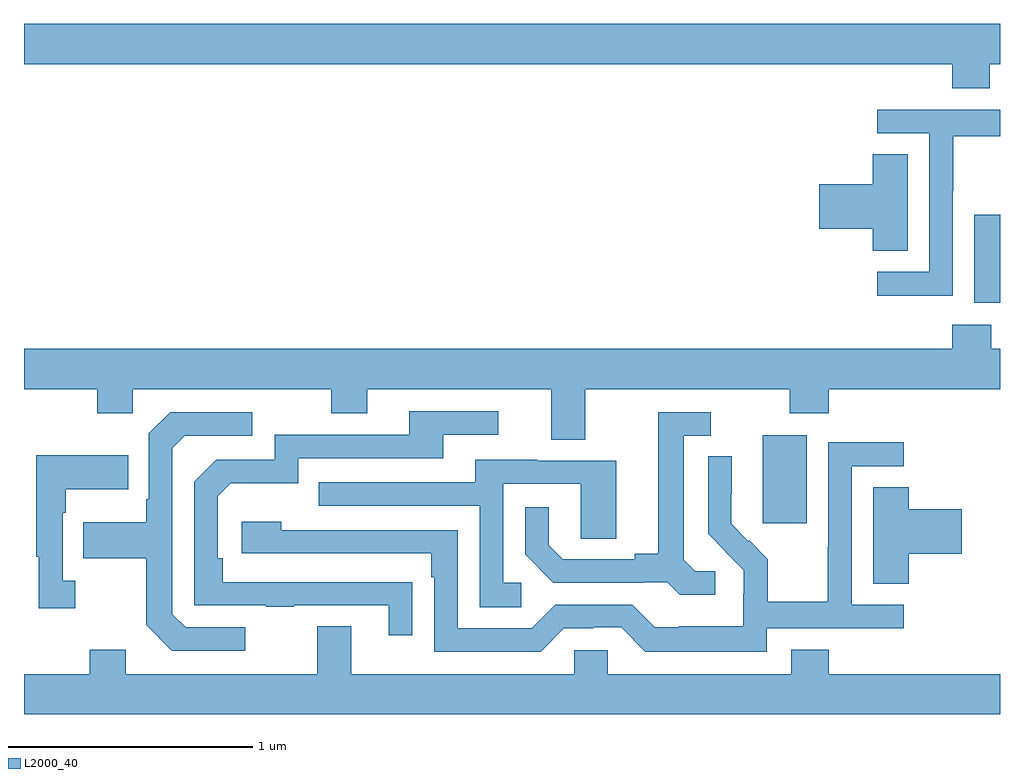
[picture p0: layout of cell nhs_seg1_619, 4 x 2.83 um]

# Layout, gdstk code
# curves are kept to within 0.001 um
import gdstk
lib = gdstk.Library(unit=1e-6, precision=1e-09)
def R(c, l, rs):  # rectangles x0, y0, x1, y1
    for r in rs: c.add(gdstk.rectangle(r[:2], r[2:], *l))
def P(c, l, *ps):  # polygons
    for p in ps: c.add(gdstk.Polygon(p, *l))
L2000_40 = (2000, 40)

nhs_seg1_619 = lib.new_cell('nhs_seg1_619')
R(nhs_seg1_619, L2000_40, [(148.028,523.209,148.207,523.57), (148.895,524.114,149,524.475)])
P(nhs_seg1_619, L2000_40, [(148.957,525.092),(149,525.092),(149,525.256),(145,525.256),(145,525.092),(148.805,525.092),(148.805,524.993),(148.957,524.993)],
  [(148.806,524.572),(148.809,524.572),(148.809,524.796),(149,524.796),(149,524.904),(148.497,524.904),(148.497,524.808),(148.71,524.808),(148.71,524.241),(148.497,524.241),(148.497,524.143),(148.806,524.143)],
  [(148.621,524.723),(148.478,524.723),(148.478,524.6),(148.26,524.6),(148.26,524.417),(148.478,524.417),(148.478,524.326),(148.621,524.326)],
  [(147.301,523.76),(148.138,523.76),(148.138,523.661),(148.298,523.661),(148.298,523.76),(149,523.76),(149,523.924),(148.965,523.924),(148.965,524.023),(148.805,524.023),(148.805,523.924),(145,523.924),(145,523.76),(145.3,523.76),(145.3,523.661),(145.446,523.661),(145.446,523.76),(146.26,523.76),(146.26,523.661),(146.407,523.661),(146.407,523.76),(147.161,523.76),(147.161,523.552),(147.301,523.552)],
  [(146.591,522.968),(145.814,522.969),(145.814,523.066),(145.794,523.066),(145.794,523.32),(145.847,523.373),(146.124,523.373),(146.124,523.476),(146.719,523.476),(146.719,523.572),(146.944,523.572),(146.944,523.668),(146.579,523.668),(146.579,523.572),(146.028,523.572),(146.028,523.47),(145.788,523.47),(145.698,523.38),(145.698,522.873),(145.993,522.873),(145.993,522.868),(146.105,522.868),(146.105,522.873),(146.495,522.873),(146.495,522.75),(146.591,522.75)],
  [(147.832,523.014),(147.75,523.014),(147.703,523.061),(147.703,523.569),(147.814,523.569),(147.814,523.665),(147.599,523.665),(147.599,523.085),(147.503,523.085),(147.503,523.062),(147.208,523.062),(147.151,523.119),(147.151,523.276),(147.054,523.276),(147.054,523.082),(147.17,522.966),(147.542,522.966),(147.542,522.969),(147.636,522.969),(147.688,522.917),(147.832,522.917)],
  [(145.906,522.783),(145.662,522.783),(145.608,522.837),(145.608,523.518),(145.659,523.569),(145.936,523.569),(145.936,523.665),(145.599,523.665),(145.512,523.578),(145.512,523.309),(145.5,523.309),(145.5,523.213),(145.243,523.213),(145.243,523.066),(145.5,523.066),(145.5,522.793),(145.605,522.687),(145.906,522.687)],
  [(148.044,522.78),(148.606,522.78),(148.606,522.876),(148.392,522.876),(148.392,523.443),(148.606,523.443),(148.606,523.542),(148.296,523.542),(148.296,523.112),(148.294,523.112),(148.294,522.889),(148.049,522.889),(148.049,523.063),(147.972,523.14),(147.969,523.137),(147.899,523.208),(147.9,523.484),(147.804,523.484),(147.804,523.166),(147.95,523.018),(147.95,522.921),(147.948,522.921),(147.948,522.787),(147.685,522.787),(147.685,522.783),(147.585,522.783),(147.492,522.876),(147.177,522.876),(147.081,522.78),(146.778,522.78),(146.778,523.182),(146.054,523.182),(146.054,523.216),(145.893,523.216),(145.893,523.086),(146.669,523.086),(146.669,522.989),(146.682,522.989),(146.682,522.684),(147.117,522.684),(147.213,522.78),(147.332,522.78),(147.332,522.783),(147.447,522.783),(147.547,522.683),(148.044,522.683)],
  [(145.21,522.974),(145.158,522.974),(145.158,523.253),(145.171,523.253),(145.171,523.349),(145.427,523.349),(145.427,523.489),(145.05,523.489),(145.05,523.073),(145.061,523.073),(145.061,522.861),(145.21,522.861)],
  [(147.037,522.966),(146.964,522.966),(146.964,523.371),(147.282,523.371),(147.282,523.147),(147.427,523.147),(147.427,523.467),(147.103,523.467),(147.103,523.471),(146.849,523.471),(146.849,523.377),(146.209,523.377),(146.209,523.281),(146.868,523.281),(146.868,522.865),(147.037,522.865)],
  [(148.625,523.085),(148.843,523.085),(148.843,523.268),(148.625,523.268),(148.625,523.358),(148.481,523.358),(148.481,522.961),(148.625,522.961)],
  [(149,522.592),(148.298,522.592),(148.298,522.691),(148.145,522.691),(148.145,522.592),(147.393,522.592),(147.393,522.69),(147.255,522.69),(147.255,522.592),(146.341,522.592),(146.341,522.787),(146.201,522.787),(146.201,522.592),(145.417,522.592),(145.417,522.691),(145.27,522.691),(145.27,522.592),(145,522.592),(145,522.428),(149,522.428)])

lib.write_gds('nhs_seg1_619.gds')
